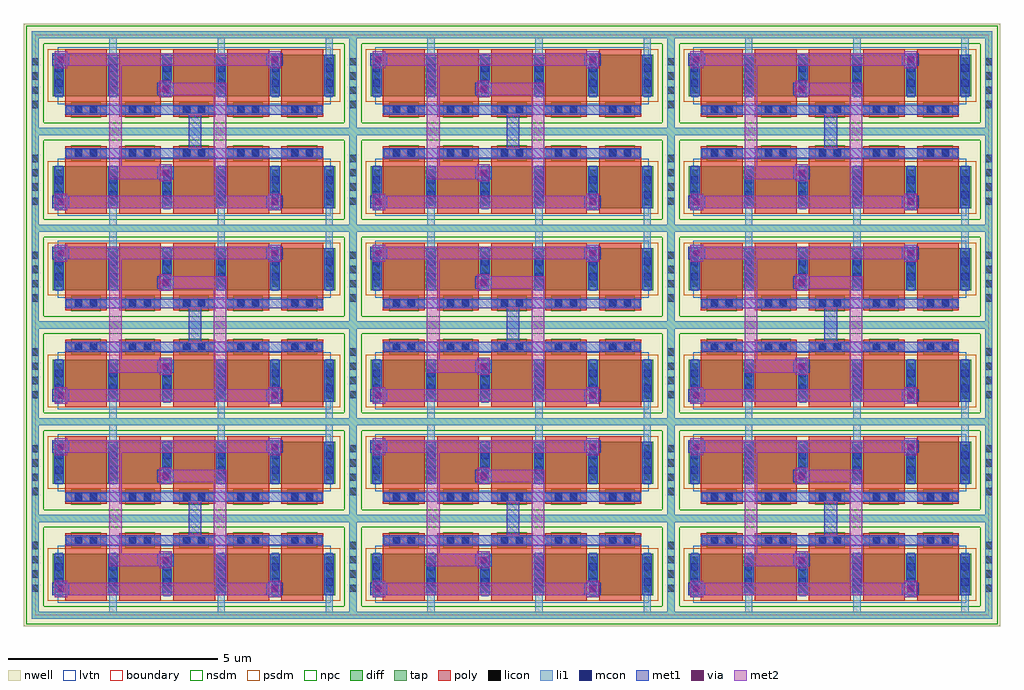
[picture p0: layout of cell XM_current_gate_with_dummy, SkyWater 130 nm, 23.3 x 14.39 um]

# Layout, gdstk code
import gdstk
lib = gdstk.Library(unit=1e-6, precision=1e-09)
def R(c, l, rs):  # rectangles x0, y0, x1, y1
    for r in rs: c.add(gdstk.rectangle(r[:2], r[2:], *l))
def A(c, l, x, y, w, h, nx, ny, dx, dy):  # array of equal rectangles
    R(c, l, [(x+i*dx, y+j*dy, x+i*dx+w, y+j*dy+h) for i in range(nx) for j in range(ny)])
nwell = (64, 20)
diff = (65, 20)
tap = (65, 44)
poly = (66, 20)
licon = (66, 44)
li1 = (67, 20)
mcon = (67, 44)
met1 = (68, 20)
via = (68, 44)
met2 = (69, 20)
nsdm = (93, 44)
psdm = (94, 20)
npc = (95, 20)
lvtn = (125, 44)
boundary = (235, 4)

sky130_fd_pr__pfet_01v8_ = lib.new_cell('sky130_fd_pr__pfet_01v8_lvt_Q24T46')
R(sky130_fd_pr__pfet_01v8_, nwell, [(-4.06,-1.42,4.06,1.42)])
R(sky130_fd_pr__pfet_01v8_, diff, [(-3.37,-0.68,3.37,0.32)])
R(sky130_fd_pr__pfet_01v8_, tap, [(-3.88,-1.24,3.88,-1.07), (-3.88,-1.07,-3.71,1.07), (3.71,-1.07,3.88,1.07), (-3.88,1.07,3.88,1.24)])
A(sky130_fd_pr__pfet_01v8_, poly, -3.08, -0.81, 1, 1.615, 5, 1, 1.29, 0)
A(sky130_fd_pr__pfet_01v8_, licon, -3.31, -0.605, 0.17, 0.17, 6, 3, 1.29, 0.34)
A(sky130_fd_pr__pfet_01v8_, licon, -3.88, -0.595, 0.17, 0.17, 1, 4, 0, 0.34)
A(sky130_fd_pr__pfet_01v8_, licon, 3.71, -0.595, 0.17, 0.17, 1, 4, 0, 0.34)
R(sky130_fd_pr__pfet_01v8_, licon, [(-2.835,0.555,-2.665,0.725), (-2.495,0.555,-2.325,0.725), (-1.545,0.555,-1.375,0.725), (-1.205,0.555,-1.035,0.725), (-0.255,0.555,-0.085,0.725), (0.085,0.555,0.255,0.725), (1.035,0.555,1.205,0.725), (1.375,0.555,1.545,0.725), (2.325,0.555,2.495,0.725), (2.665,0.555,2.835,0.725)])
A(sky130_fd_pr__pfet_01v8_, li1, -3.31, -0.7, 0.17, 1.04, 6, 1, 1.29, 0)
A(sky130_fd_pr__pfet_01v8_, li1, -3.08, 0.555, 1, 0.17, 5, 1, 1.29, 0)
R(sky130_fd_pr__pfet_01v8_, li1, [(-3.88,-1.24,3.88,-1.07), (-3.88,-1.07,-3.71,1.07), (3.71,-1.07,3.88,1.07), (-3.88,1.07,3.88,1.24)])
A(sky130_fd_pr__pfet_01v8_, mcon, -3.31, -0.445, 0.17, 0.17, 6, 2, 1.29, 0.36)
R(sky130_fd_pr__pfet_01v8_, mcon, [(-2.845,0.555,-2.675,0.725), (-2.485,0.555,-2.315,0.725), (-1.555,0.555,-1.385,0.725), (-1.195,0.555,-1.025,0.725), (-0.265,0.555,-0.095,0.725), (0.095,0.555,0.265,0.725), (1.025,0.555,1.195,0.725), (1.385,0.555,1.555,0.725), (2.315,0.555,2.485,0.725), (2.675,0.555,2.845,0.725)])
A(sky130_fd_pr__pfet_01v8_, met1, -3.34, -0.68, 0.23, 1, 6, 1, 1.29, 0)
A(sky130_fd_pr__pfet_01v8_, met1, -3.06, 0.525, 0.96, 0.23, 5, 1, 1.29, 0)
R(sky130_fd_pr__pfet_01v8_, nsdm, [(-4.005,-1.365,4.005,-0.945), (-4.005,-0.945,-3.585,0.945), (3.585,-0.945,4.005,0.945), (-4.005,0.945,4.005,1.365)])
R(sky130_fd_pr__pfet_01v8_, psdm, [(-3.495,-0.805,3.495,0.445)])
A(sky130_fd_pr__pfet_01v8_, npc, -2.935, 0.455, 0.71, 0.37, 5, 1, 1.29, 0)
R(sky130_fd_pr__pfet_01v8_, lvtn, [(-3.26,-0.86,3.26,0.5)])
R(sky130_fd_pr__pfet_01v8_, boundary, [(-3.795,-1.155,3.795,1.155)])

c_sky130_fd_pr__pfet_01v8_ = lib.new_cell('sky130_fd_pr__pfet_01v8_lvt_MUVY4U')
R(c_sky130_fd_pr__pfet_01v8_, nwell, [(-4.06,-1.42,4.06,1.42)])
R(c_sky130_fd_pr__pfet_01v8_, diff, [(-3.37,-0.32,3.37,0.68)])
R(c_sky130_fd_pr__pfet_01v8_, tap, [(-3.88,-1.24,3.88,-1.07), (-3.88,-1.07,-3.71,1.07), (3.71,-1.07,3.88,1.07), (-3.88,1.07,3.88,1.24)])
A(c_sky130_fd_pr__pfet_01v8_, poly, -3.08, -0.805, 1, 1.615, 5, 1, 1.29, 0)
A(c_sky130_fd_pr__pfet_01v8_, licon, -3.88, -0.595, 0.17, 0.17, 1, 4, 0, 0.34)
A(c_sky130_fd_pr__pfet_01v8_, licon, 3.71, -0.595, 0.17, 0.17, 1, 4, 0, 0.34)
A(c_sky130_fd_pr__pfet_01v8_, licon, -3.31, -0.245, 0.17, 0.17, 6, 3, 1.29, 0.34)
R(c_sky130_fd_pr__pfet_01v8_, licon, [(-2.835,-0.725,-2.665,-0.555), (-2.495,-0.725,-2.325,-0.555), (-1.545,-0.725,-1.375,-0.555), (-1.205,-0.725,-1.035,-0.555), (-0.255,-0.725,-0.085,-0.555), (0.085,-0.725,0.255,-0.555), (1.035,-0.725,1.205,-0.555), (1.375,-0.725,1.545,-0.555), (2.325,-0.725,2.495,-0.555), (2.665,-0.725,2.835,-0.555)])
A(c_sky130_fd_pr__pfet_01v8_, li1, -3.08, -0.725, 1, 0.17, 5, 1, 1.29, 0)
A(c_sky130_fd_pr__pfet_01v8_, li1, -3.31, -0.34, 0.17, 1.04, 6, 1, 1.29, 0)
R(c_sky130_fd_pr__pfet_01v8_, li1, [(-3.88,-1.24,3.88,-1.07), (-3.88,-1.07,-3.71,1.07), (3.71,-1.07,3.88,1.07), (-3.88,1.07,3.88,1.24)])
A(c_sky130_fd_pr__pfet_01v8_, mcon, -3.31, -0.085, 0.17, 0.17, 6, 2, 1.29, 0.36)
R(c_sky130_fd_pr__pfet_01v8_, mcon, [(-2.845,-0.725,-2.675,-0.555), (-2.485,-0.725,-2.315,-0.555), (-1.555,-0.725,-1.385,-0.555), (-1.195,-0.725,-1.025,-0.555), (-0.265,-0.725,-0.095,-0.555), (0.095,-0.725,0.265,-0.555), (1.025,-0.725,1.195,-0.555), (1.385,-0.725,1.555,-0.555), (2.315,-0.725,2.485,-0.555), (2.675,-0.725,2.845,-0.555)])
A(c_sky130_fd_pr__pfet_01v8_, met1, -3.06, -0.755, 0.96, 0.23, 5, 1, 1.29, 0)
A(c_sky130_fd_pr__pfet_01v8_, met1, -3.34, -0.32, 0.23, 1, 6, 1, 1.29, 0)
R(c_sky130_fd_pr__pfet_01v8_, nsdm, [(-4.005,-1.365,4.005,-0.945), (-4.005,-0.945,-3.585,0.945), (3.585,-0.945,4.005,0.945), (-4.005,0.945,4.005,1.365)])
R(c_sky130_fd_pr__pfet_01v8_, psdm, [(-3.495,-0.445,3.495,0.805)])
A(c_sky130_fd_pr__pfet_01v8_, npc, -2.935, -0.825, 0.71, 0.37, 5, 1, 1.29, 0)
R(c_sky130_fd_pr__pfet_01v8_, lvtn, [(-3.26,-0.5,3.26,0.86)])
R(c_sky130_fd_pr__pfet_01v8_, boundary, [(-3.795,-1.155,3.795,1.155)])

xm_current_gate = lib.new_cell('XM_current_gate')
A(xm_current_gate, li1, 1.51, -2.5, 0.17, 0.39, 3, 2, 2.58, 4.08)
R(xm_current_gate, met1, [(0.15,-2.1,0.55,-1.8), (5.25,-2.1,5.65,-1.8), (2.65,-1.4,3.05,-1.1), (0.47,-0.9,6.59,-0.665), (3.4,-0.665,3.7,0.135), (0.47,0.135,6.59,0.365), (2.65,0.6,3.05,0.9), (0.15,1.3,0.55,1.6), (5.25,1.3,5.65,1.6)])
R(xm_current_gate, via, [(0.275,-2.025,0.425,-1.875), (5.375,-2.025,5.525,-1.875), (2.775,-1.325,2.925,-1.175), (2.775,0.675,2.925,0.825), (0.275,1.375,0.425,1.525), (5.375,1.375,5.525,1.525)])
R(xm_current_gate, met2, [(0.2,-2.15,0.5,-2.1), (5.3,-2.15,5.6,-2.1), (0.2,-2.1,5.6,-1.8), (0.2,-1.8,0.5,-1.75), (4,-1.8,4.3,0.6), (5.3,-1.8,5.6,-1.75), (2.7,-1.45,3,-1.4), (1.5,-1.4,3,-1.1), (1.5,-1.1,1.8,1.3), (2.7,-1.1,3,-1.05), (2.7,0.55,3,0.6), (2.7,0.6,4.3,0.9), (2.7,0.9,3,0.95), (0.2,1.25,0.5,1.3), (5.3,1.25,5.6,1.3), (0.2,1.3,5.6,1.6), (0.2,1.6,0.5,1.65), (5.3,1.6,5.6,1.65)])
xm_current_gate.add(gdstk.Reference(sky130_fd_pr__pfet_01v8_, (3.53,-1.42)))
xm_current_gate.add(gdstk.Reference(c_sky130_fd_pr__pfet_01v8_, (3.53,0.89)))

xm_current_gate_with_dum = lib.new_cell('XM_current_gate_with_dummy')
xm_current_gate_with_dum.add(gdstk.Reference(xm_current_gate, (15.71,-1.78)))
xm_current_gate_with_dum.add(gdstk.Reference(xm_current_gate, (8.12,-1.78)))
xm_current_gate_with_dum.add(gdstk.Reference(xm_current_gate, (0.53,-1.78)))
xm_current_gate_with_dum.add(gdstk.Reference(xm_current_gate, (15.71,7.46)))
xm_current_gate_with_dum.add(gdstk.Reference(xm_current_gate, (8.12,7.46)))
xm_current_gate_with_dum.add(gdstk.Reference(xm_current_gate, (0.53,7.46)))
xm_current_gate_with_dum.add(gdstk.Reference(xm_current_gate, (15.71,2.84)))
xm_current_gate_with_dum.add(gdstk.Reference(xm_current_gate, (8.12,2.84)))
xm_current_gate_with_dum.add(gdstk.Reference(xm_current_gate, (0.53,2.84)))

lib.write_gds('XM_current_gate_with_dummy.gds')
